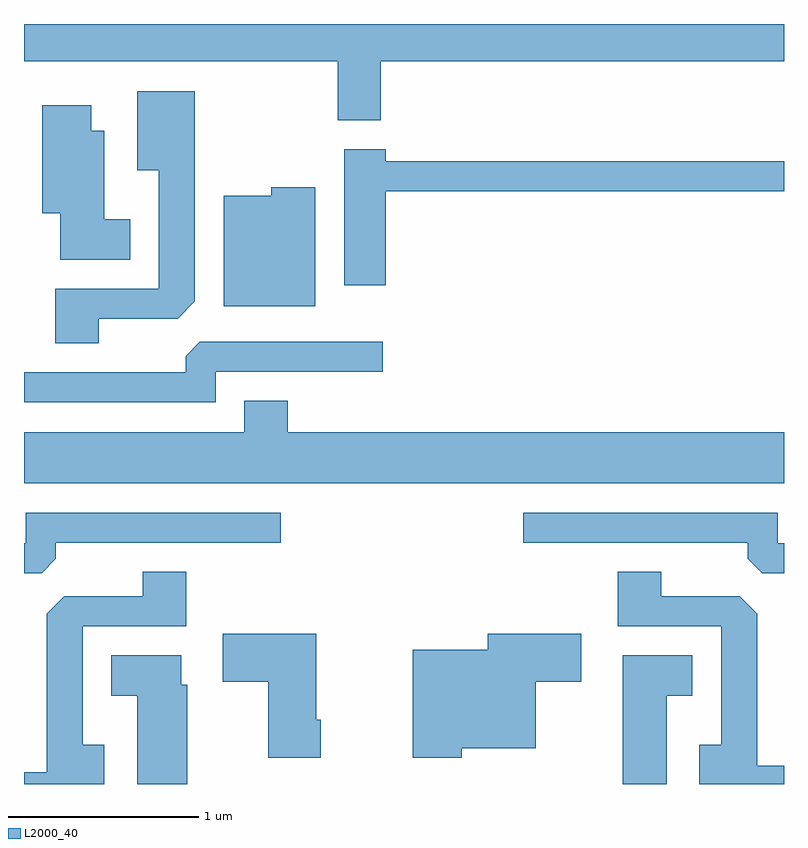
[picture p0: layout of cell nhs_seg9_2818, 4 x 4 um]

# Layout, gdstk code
import gdstk
lib = gdstk.Library(unit=1e-6, precision=1e-09)
def P(c, l, *ps):  # polygons
    for p in ps: c.add(gdstk.Polygon(p, *l))
L2000_40 = (2000, 40)

nhs_seg9_2818 = lib.new_cell('nhs_seg9_2818')
P(nhs_seg9_2818, L2000_40, [(269.489,2016.236),(271.611,2016.236),(271.611,2016.432),(267.611,2016.432),(267.611,2016.236),(269.261,2016.236),(269.261,2015.926),(269.489,2015.926)],
  [(268.004,2014.881),(268.419,2014.881),(268.509,2014.972),(268.509,2016.079),(268.206,2016.079),(268.206,2015.661),(268.321,2015.661),(268.321,2015.039),(267.776,2015.039),(267.776,2014.751),(268.004,2014.751)],
  [(268.169,2015.404),(268.034,2015.404),(268.034,2015.869),(267.964,2015.869),(267.964,2016.004),(267.706,2016.004),(267.706,2015.436),(267.801,2015.436),(267.801,2015.191),(268.169,2015.191)],
  [(269.514,2015.551),(271.611,2015.551),(271.611,2015.709),(269.514,2015.709),(269.514,2015.774),(269.296,2015.774),(269.296,2015.056),(269.514,2015.056)],
  [(269.144,2015.574),(268.911,2015.574),(268.911,2015.529),(268.661,2015.529),(268.661,2014.946),(269.144,2014.946)],
  [(268.619,2014.601),(269.498,2014.601),(269.498,2014.759),(268.537,2014.759),(268.461,2014.684),(268.461,2014.599),(267.611,2014.599),(267.611,2014.441),(268.619,2014.441)],
  [(271.611,2014.284),(268.999,2014.284),(268.999,2014.449),(268.771,2014.449),(268.771,2014.284),(267.611,2014.284),(267.611,2014.016),(271.611,2014.016)],
  [(267.779,2013.617),(267.779,2013.701),(268.963,2013.701),(268.963,2013.859),(267.621,2013.859),(267.621,2013.699),(267.611,2013.699),(267.611,2013.541),(267.704,2013.541)],
  [(271.611,2013.699),(271.579,2013.699),(271.579,2013.859),(270.238,2013.859),(270.238,2013.701),(271.421,2013.701),(271.421,2013.617),(271.497,2013.541),(271.611,2013.541)],
  [(271.611,2012.529),(271.469,2012.529),(271.469,2013.329),(271.379,2013.419),(270.964,2013.419),(270.964,2013.549),(270.736,2013.549),(270.736,2013.261),(271.281,2013.261),(271.281,2012.639),(271.166,2012.639),(271.166,2012.432),(271.611,2012.432)],
  [(268.034,2012.639),(267.919,2012.639),(267.919,2013.261),(268.464,2013.261),(268.464,2013.549),(268.236,2013.549),(268.236,2013.419),(267.822,2013.419),(267.731,2013.329),(267.731,2012.494),(267.611,2012.494),(267.611,2012.432),(268.034,2012.432)],
  [(269.914,2012.621),(270.304,2012.621),(270.304,2012.971),(270.544,2012.971),(270.544,2013.224),(270.051,2013.224),(270.051,2013.139),(269.656,2013.139),(269.656,2012.571),(269.914,2012.571)],
  [(269.174,2012.769),(269.149,2012.769),(269.149,2013.224),(268.656,2013.224),(268.656,2012.971),(268.896,2012.971),(268.896,2012.571),(269.174,2012.571)],
  [(268.469,2012.954),(268.439,2012.954),(268.439,2013.109),(268.071,2013.109),(268.071,2012.896),(268.206,2012.896),(268.206,2012.432),(268.469,2012.432)],
  [(270.994,2012.896),(271.129,2012.896),(271.129,2013.109),(270.761,2013.109),(270.761,2012.432),(270.994,2012.432)])

lib.write_gds('nhs_seg9_2818.gds')
